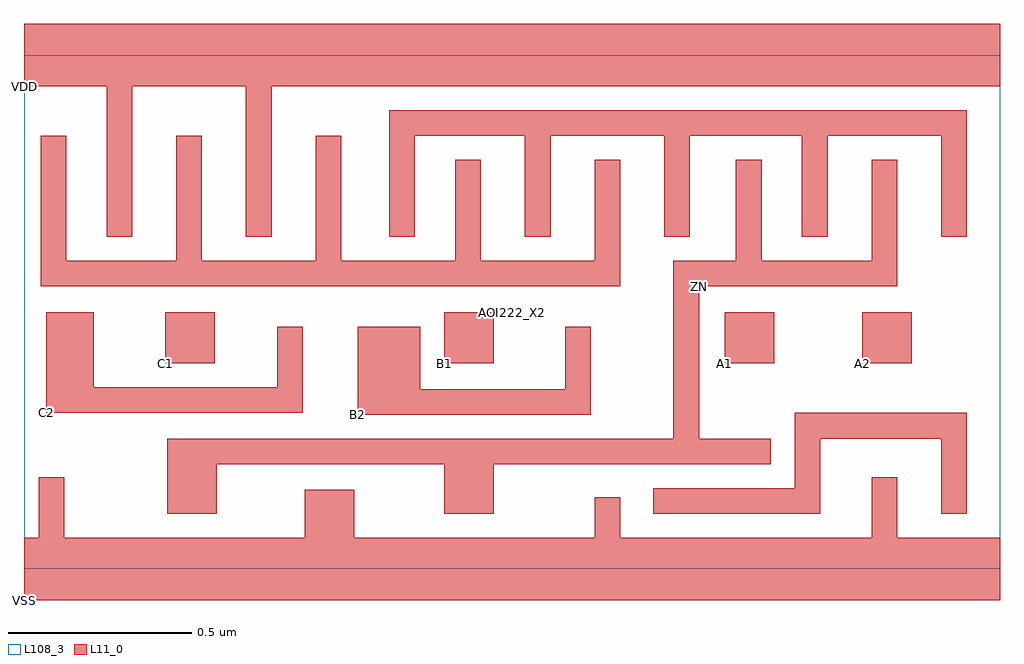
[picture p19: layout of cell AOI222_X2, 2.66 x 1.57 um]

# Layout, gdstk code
import gdstk
lib = gdstk.Library(unit=1e-6, precision=1e-09)
def R(c, l, rs):  # rectangles x0, y0, x1, y1
    for r in rs: c.add(gdstk.rectangle(r[:2], r[2:], *l))
def P(c, l, *ps):  # polygons
    for p in ps: c.add(gdstk.Polygon(p, *l))
L11_0 = (11, 0)
L108_3 = (108, 3)

aoi222_x2 = lib.new_cell('AOI222_X2')
R(aoi222_x2, L11_0, [(0.385,0.56,0.52,0.7), (1.145,0.56,1.28,0.7), (1.91,0.56,2.045,0.7), (2.285,0.56,2.42,0.7)])
P(aoi222_x2, L11_0, [(0.91,0.42),(1.545,0.42),(1.545,0.66),(1.475,0.66),(1.475,0.49),(1.08,0.49),(1.08,0.66),(0.91,0.66)],
  [(0.06,0.425),(0.76,0.425),(0.76,0.66),(0.69,0.66),(0.69,0.495),(0.19,0.495),(0.19,0.7),(0.06,0.7)],
  [(1.84,0.77),(2.38,0.77),(2.38,1.115),(2.31,1.115),(2.31,0.84),(2.01,0.84),(2.01,1.115),(1.94,1.115),(1.94,0.84),(1.77,0.84),(1.77,0.355),(0.39,0.355),(0.39,0.15),(0.525,0.15),(0.525,0.285),(1.145,0.285),(1.145,0.15),(1.28,0.15),(1.28,0.285),(2.035,0.285),(2.035,0.355),(1.84,0.355)],
  [(0,1.315),(0.225,1.315),(0.225,0.905),(0.295,0.905),(0.295,1.315),(0.605,1.315),(0.605,0.905),(0.675,0.905),(0.675,1.315),(2.57,1.315),(2.66,1.315),(2.66,1.485),(2.57,1.485),(0,1.485)],
  [(0,-0.085),(2.66,-0.085),(2.66,0.085),(2.38,0.085),(2.38,0.25),(2.31,0.25),(2.31,0.085),(1.625,0.085),(1.625,0.195),(1.555,0.195),(1.555,0.085),(0.9,0.085),(0.9,0.215),(0.765,0.215),(0.765,0.085),(0.11,0.085),(0.11,0.25),(0.04,0.25),(0.04,0.085),(0,0.085)],
  [(0.045,0.77),(1.625,0.77),(1.625,1.115),(1.555,1.115),(1.555,0.84),(1.245,0.84),(1.245,1.115),(1.175,1.115),(1.175,0.84),(0.865,0.84),(0.865,1.18),(0.795,1.18),(0.795,0.84),(0.485,0.84),(0.485,1.18),(0.415,1.18),(0.415,0.84),(0.115,0.84),(0.115,1.18),(0.045,1.18)],
  [(1.715,0.15),(2.17,0.15),(2.17,0.355),(2.5,0.355),(2.5,0.15),(2.57,0.15),(2.57,0.425),(2.1,0.425),(2.1,0.22),(1.715,0.22)],
  [(0.995,0.905),(1.065,0.905),(1.065,1.18),(1.365,1.18),(1.365,0.905),(1.435,0.905),(1.435,1.18),(1.745,1.18),(1.745,0.905),(1.815,0.905),(1.815,1.18),(2.12,1.18),(2.12,0.905),(2.19,0.905),(2.19,1.18),(2.5,1.18),(2.5,0.905),(2.57,0.905),(2.57,1.25),(0.995,1.25)])
R(aoi222_x2, L108_3, [(0,0,2.66,1.4)])
aoi222_x2.add(gdstk.Label('AOI222_X2', (1.33,0.7), layer=108, texttype=3))
aoi222_x2.add(gdstk.Label('A1', (1.91,0.56), layer=11, texttype=0))
aoi222_x2.add(gdstk.Label('A2', (2.285,0.56), layer=11, texttype=0))
aoi222_x2.add(gdstk.Label('B1', (1.145,0.56), layer=11, texttype=0))
aoi222_x2.add(gdstk.Label('B2', (0.91,0.42), layer=11, texttype=0))
aoi222_x2.add(gdstk.Label('C1', (0.385,0.56), layer=11, texttype=0))
aoi222_x2.add(gdstk.Label('C2', (0.06,0.425), layer=11, texttype=0))
aoi222_x2.add(gdstk.Label('ZN', (1.84,0.77), layer=11, texttype=0))
aoi222_x2.add(gdstk.Label('VDD', (0,1.315), layer=11, texttype=0))
aoi222_x2.add(gdstk.Label('VSS', (0,-0.085), layer=11, texttype=0))

lib.write_gds('AOI222_X2.gds')
